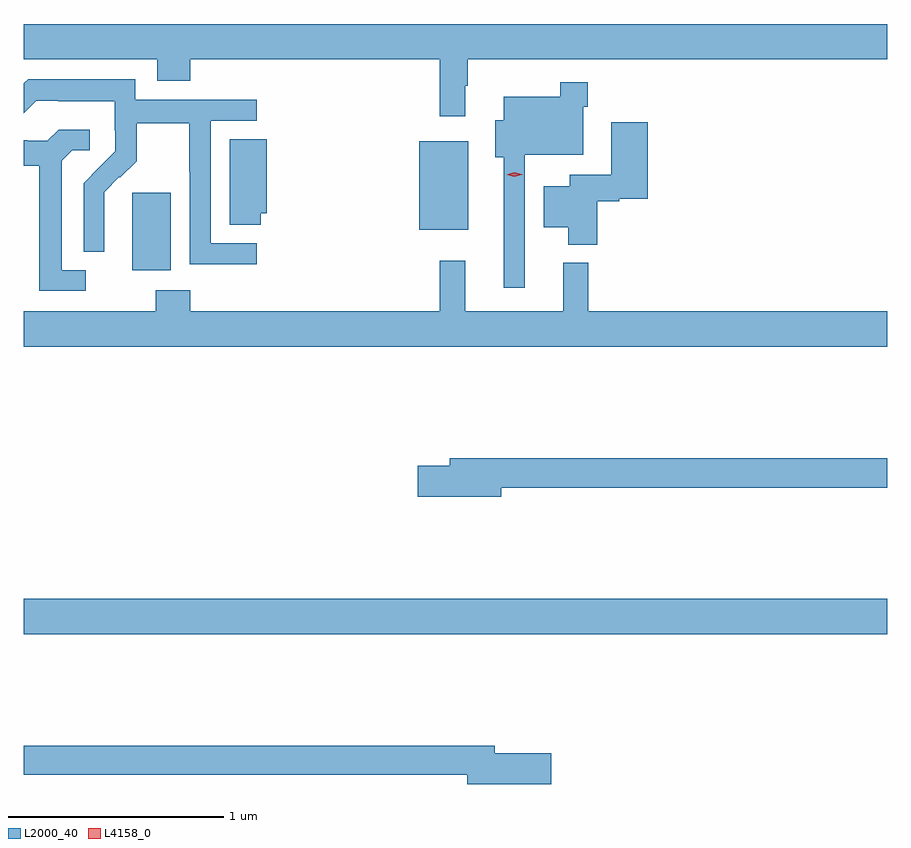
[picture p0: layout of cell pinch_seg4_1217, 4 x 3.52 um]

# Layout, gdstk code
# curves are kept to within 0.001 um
import gdstk
lib = gdstk.Library(unit=1e-6, precision=1e-09)
def R(c, l, rs):  # rectangles x0, y0, x1, y1
    for r in rs: c.add(gdstk.rectangle(r[:2], r[2:], *l))
def P(c, l, *ps):  # polygons
    for p in ps: c.add(gdstk.Polygon(p, *l))
L2000_40 = (2000, 40)
L4158_0 = (4158, 0)

pinch_seg4_1217 = lib.new_cell('pinch_seg4_1217')
R(pinch_seg4_1217, L2000_40, [(204.803,810.14,208.803,810.304), (205.304,811.826,205.483,812.187), (206.636,812.015,206.863,812.425)])
P(pinch_seg4_1217, L2000_40, [(206.848,812.681),(206.86,812.681),(206.86,812.804),(208.803,812.804),(208.803,812.968),(204.803,812.968),(204.803,812.804),(205.421,812.804),(205.421,812.705),(205.574,812.705),(205.574,812.804),(206.731,812.804),(206.731,812.541),(206.848,812.541)],
  [(205.882,811.953),(205.668,811.953),(205.668,812.52),(205.882,812.52),(205.882,812.616),(205.32,812.616),(205.32,812.713),(204.823,812.713),(204.803,812.693),(204.803,812.555),(204.861,812.613),(204.961,812.613),(204.961,812.609),(205.224,812.609),(205.224,812.475),(205.226,812.475),(205.226,812.378),(205.08,812.23),(205.08,811.912),(205.176,811.912),(205.175,812.189),(205.245,812.259),(205.248,812.256),(205.325,812.333),(205.325,812.508),(205.57,812.508),(205.57,812.284),(205.572,812.284),(205.572,811.855),(205.882,811.855)],
  [(207.123,812.363),(207.396,812.363),(207.396,812.585),(207.416,812.585),(207.416,812.698),(207.288,812.698),(207.288,812.632),(207.026,812.632),(207.026,812.521),(206.987,812.521),(206.987,812.351),(207.026,812.351),(207.026,811.746),(207.123,811.746)],
  [(207.461,812.147),(207.561,812.147),(207.561,812.159),(207.695,812.159),(207.695,812.512),(207.524,812.512),(207.524,812.269),(207.332,812.269),(207.332,812.215),(207.212,812.215),(207.212,812.027),(207.326,812.027),(207.326,811.946),(207.461,811.946)],
  [(205.09,811.827),(204.979,811.827),(204.979,812.335),(205.026,812.382),(205.108,812.382),(205.108,812.479),(204.964,812.479),(204.912,812.427),(204.818,812.427),(204.818,812.43),(204.803,812.43),(204.803,812.312),(204.875,812.312),(204.875,811.731),(205.09,811.731)],
  [(205.901,812.091),(205.928,812.091),(205.928,812.435),(205.757,812.435),(205.757,812.038),(205.901,812.038)],
  [(208.803,811.636),(207.419,811.636),(207.419,811.861),(207.302,811.861),(207.302,811.636),(206.849,811.636),(206.849,811.87),(206.731,811.87),(206.731,811.636),(205.574,811.636),(205.574,811.735),(205.414,811.735),(205.414,811.636),(204.803,811.636),(204.803,811.472),(208.803,811.472)],
  [(207.016,810.82),(208.803,810.82),(208.803,810.956),(206.777,810.956),(206.777,810.92),(206.628,810.92),(206.628,810.778),(207.016,810.778)],
  [(207.247,809.588),(206.986,809.588),(206.986,809.624),(204.803,809.624),(204.803,809.488),(206.858,809.488),(206.858,809.446),(207.247,809.446)])
P(pinch_seg4_1217, L4158_0, [(207.076,812.26),(207.04,812.269),(207.04,812.269),(207.04,812.269),(207.076,812.28),(207.111,812.271),(207.112,812.27),(207.111,812.27)])

lib.write_gds('pinch_seg4_1217.gds')
